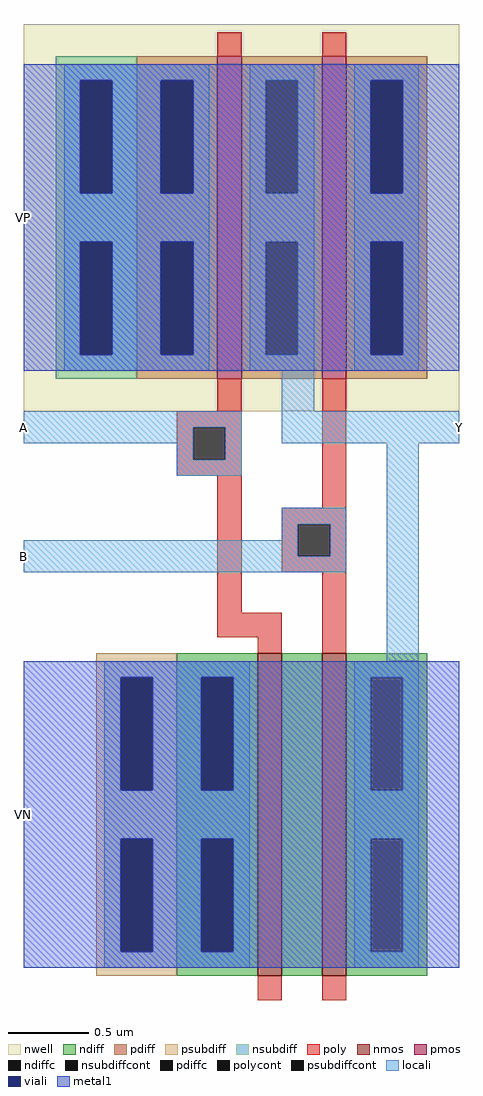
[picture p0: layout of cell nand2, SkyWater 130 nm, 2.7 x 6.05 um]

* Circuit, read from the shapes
.subckt nand2 A B Y VP VN
XM1 n1 A VN VN sky130_fd_pr__nfet_01v8 w=2 l=0.15
XM2 Y B n1 VN sky130_fd_pr__nfet_01v8 w=2 l=0.15
XM3 Y A VP VP sky130_fd_pr__pfet_01v8 w=2 l=0.15
XM4 VP B Y VP sky130_fd_pr__pfet_01v8 w=2 l=0.15
.ends

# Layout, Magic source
magic
tech sky130A
<< nwell >>
rect -120 410 150 650
<< nmos >>
rect 25 60 40 260
rect 65 60 80 260
<< pmos >>
rect 0 430 15 630
rect 65 430 80 630
<< ndiff >>
rect -25 245 25 260
rect -25 175 -10 245
rect 10 175 25 245
rect -25 145 25 175
rect -25 75 -10 145
rect 10 75 25 145
rect -25 60 25 75
rect 40 60 65 260
rect 80 245 130 260
rect 80 175 95 245
rect 115 175 130 245
rect 80 145 130 175
rect 80 75 95 145
rect 115 75 130 145
rect 80 60 130 75
<< pdiff >>
rect -50 615 0 630
rect -50 545 -35 615
rect -15 545 0 615
rect -50 515 0 545
rect -50 445 -35 515
rect -15 445 0 515
rect -50 430 0 445
rect 15 615 65 630
rect 15 545 30 615
rect 50 545 65 615
rect 15 515 65 545
rect 15 445 30 515
rect 50 445 65 515
rect 15 430 65 445
rect 80 615 130 630
rect 80 545 95 615
rect 115 545 130 615
rect 80 515 130 545
rect 80 445 95 515
rect 115 445 130 515
rect 80 430 130 445
<< ndiffc >>
rect -10 175 10 245
rect -10 75 10 145
rect 95 175 115 245
rect 95 75 115 145
<< pdiffc >>
rect -35 545 -15 615
rect -35 445 -15 515
rect 30 545 50 615
rect 30 445 50 515
rect 95 545 115 615
rect 95 445 115 515
<< psubdiff >>
rect -75 245 -25 260
rect -75 175 -60 245
rect -40 175 -25 245
rect -75 145 -25 175
rect -75 75 -60 145
rect -40 75 -25 145
rect -75 60 -25 75
<< nsubdiff >>
rect -100 615 -50 630
rect -100 545 -85 615
rect -65 545 -50 615
rect -100 515 -50 545
rect -100 445 -85 515
rect -65 445 -50 515
rect -100 430 -50 445
<< psubdiffcont >>
rect -60 175 -40 245
rect -60 75 -40 145
<< nsubdiffcont >>
rect -85 545 -65 615
rect -85 445 -65 515
<< poly >>
rect 0 630 15 645
rect 65 630 80 645
rect 0 410 15 430
rect -25 400 15 410
rect -25 380 -15 400
rect 5 380 15 400
rect -25 370 15 380
rect 0 285 15 370
rect 65 350 80 430
rect 40 340 80 350
rect 40 320 50 340
rect 70 320 80 340
rect 40 310 80 320
rect 0 270 40 285
rect 25 260 40 270
rect 65 260 80 310
rect 25 45 40 60
rect 65 45 80 60
<< polycont >>
rect -15 380 5 400
rect 50 320 70 340
<< locali >>
rect -95 615 -5 625
rect -95 545 -85 615
rect -65 545 -35 615
rect -15 545 -5 615
rect -95 515 -5 545
rect -95 445 -85 515
rect -65 445 -35 515
rect -15 445 -5 515
rect -95 435 -5 445
rect 20 615 60 625
rect 20 545 30 615
rect 50 545 60 615
rect 20 515 60 545
rect 20 445 30 515
rect 50 445 60 515
rect 20 435 60 445
rect 85 615 125 625
rect 85 545 95 615
rect 115 545 125 615
rect 85 515 125 545
rect 85 445 95 515
rect 115 445 125 515
rect 85 435 125 445
rect 40 410 60 435
rect -120 400 15 410
rect -120 390 -15 400
rect -25 380 -15 390
rect 5 380 15 400
rect 40 390 150 410
rect -25 370 15 380
rect 40 340 80 350
rect 40 330 50 340
rect -120 320 50 330
rect 70 320 80 340
rect -120 310 80 320
rect 105 255 125 390
rect -70 245 20 255
rect -70 175 -60 245
rect -40 175 -10 245
rect 10 175 20 245
rect -70 145 20 175
rect -70 75 -60 145
rect -40 75 -10 145
rect 10 75 20 145
rect -70 65 20 75
rect 85 245 125 255
rect 85 175 95 245
rect 115 175 125 245
rect 85 145 125 175
rect 85 75 95 145
rect 115 75 125 145
rect 85 65 125 75
<< viali >>
rect -85 545 -65 615
rect -35 545 -15 615
rect -85 445 -65 515
rect -35 445 -15 515
rect 95 545 115 615
rect 95 445 115 515
rect -60 175 -40 245
rect -10 175 10 245
rect -60 75 -40 145
rect -10 75 10 145
<< metal1 >>
rect -120 615 150 625
rect -120 545 -85 615
rect -65 545 -35 615
rect -15 545 95 615
rect 115 545 150 615
rect -120 515 150 545
rect -120 445 -85 515
rect -65 445 -35 515
rect -15 445 95 515
rect 115 445 150 515
rect -120 435 150 445
rect -120 245 150 255
rect -120 175 -60 245
rect -40 175 -10 245
rect 10 175 150 245
rect -120 145 150 175
rect -120 75 -60 145
rect -40 75 -10 145
rect 10 75 150 145
rect -120 65 150 75
<< labels >>
rlabel locali -120 400 -120 400 7 A
port 1 w
rlabel locali -120 320 -120 320 7 B
port 2 w
rlabel locali 150 400 150 400 3 Y
port 3 e
rlabel metal1 -120 530 -120 530 7 VP
port 4 w
rlabel metal1 -120 160 -120 160 7 VN
port 5 w
<< end >>
